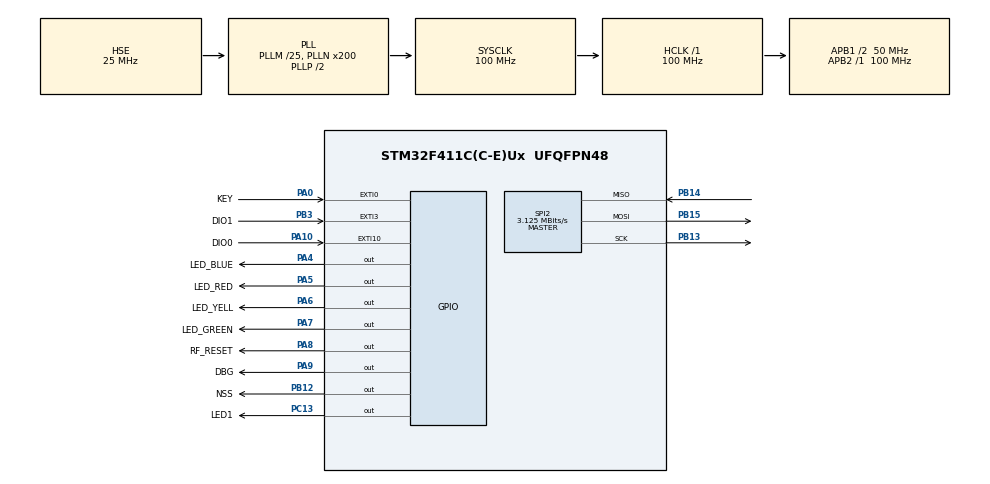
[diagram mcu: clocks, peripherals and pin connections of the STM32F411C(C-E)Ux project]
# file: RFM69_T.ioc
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Dma.Request0=SPI2_RX
Dma.Request1=SPI2_TX
Dma.SPI2_RX.0.Direction=DMA_PERIPH_TO_MEMORY
Dma.SPI2_RX.0.FIFOMode=DMA_FIFOMODE_DISABLE
Dma.SPI2_RX.0.Instance=DMA1_Stream3
Dma.SPI2_RX.0.MemDataAlignment=DMA_MDATAALIGN_BYTE
Dma.SPI2_RX.0.MemInc=DMA_MINC_ENABLE
Dma.SPI2_RX.0.Mode=DMA_NORMAL
Dma.SPI2_RX.0.PeriphDataAlignment=DMA_PDATAALIGN_BYTE
Dma.SPI2_RX.0.PeriphInc=DMA_PINC_DISABLE
Dma.SPI2_RX.0.Priority=DMA_PRIORITY_VERY_HIGH
Dma.SPI2_TX.1.Direction=DMA_MEMORY_TO_PERIPH
Dma.SPI2_TX.1.FIFOMode=DMA_FIFOMODE_DISABLE
Dma.SPI2_TX.1.Instance=DMA1_Stream4
Dma.SPI2_TX.1.MemDataAlignment=DMA_MDATAALIGN_BYTE
Dma.SPI2_TX.1.MemInc=DMA_MINC_ENABLE
Dma.SPI2_TX.1.Mode=DMA_NORMAL
Dma.SPI2_TX.1.PeriphDataAlignment=DMA_PDATAALIGN_BYTE
Dma.SPI2_TX.1.PeriphInc=DMA_PINC_DISABLE
Dma.SPI2_TX.1.Priority=DMA_PRIORITY_VERY_HIGH
FREERTOS.BinarySemaphores01=SemaphoreKEY,Dynamic,NULL;SemDIO_RF69,Static,SemDIO_RF69ControlBlock;SemTimer_RF69,Static,SemTimer_RF69ControlBlock
FREERTOS.HEAP_NUMBER=5
FREERTOS.Mutexes01=RF_Mutex,Static,RF_MutexControlBlock
FREERTOS.Tasks01=defaultTask,24,128,StartDefaultTask,Default,NULL,Static,defaultTaskBuffer,defaultTaskControlBlock;InitTask,40,512,StartInitTask,Default,NULL,Dynamic,NULL,NULL;RadioTask,24,512,StartRadioTask,Default,NULL,Static,RadioTaskBuffer,RadioTaskControlBlock;TaskKey,24,128,StartTaskKey,Default,NULL,Dynamic,NULL,NULL;TaskDIO_RF69,48,256,StartDIO_RF69,Default,NULL,Static,DIO_RF69Buffer,DIO_RF69ControlBlock;TaskTIM_RF69,41,256,StartTaskTIM_RF69,Default,NULL,Static,TaskTIM_RF69Buffer,TaskTIM_RF69ControlBlock
Mcu.Family=STM32F4
Mcu.Name=STM32F411C(C-E)Ux
Mcu.Package=UFQFPN48
NVIC.DMA1_Stream3_IRQn=true\:12\:0\:true\:false\:true\:true\:false\:true
NVIC.DMA1_Stream4_IRQn=true\:12\:0\:true\:false\:true\:true\:false\:true
NVIC.EXTI0_IRQn=true\:6\:0\:true\:false\:true\:true\:true\:true
NVIC.EXTI15_10_IRQn=true\:8\:0\:true\:false\:true\:true\:true\:true
NVIC.EXTI3_IRQn=true\:6\:0\:true\:false\:true\:true\:true\:true
NVIC.PriorityGroup=NVIC_PRIORITYGROUP_4
NVIC.SPI2_IRQn=true\:11\:0\:true\:false\:true\:true\:true\:true
NVIC.TIM1_TRG_COM_TIM11_IRQn=true\:0\:0\:true\:false\:true\:false\:false\:true
NVIC.TIM1_UP_TIM10_IRQn=true\:14\:0\:true\:false\:true\:true\:true\:true
NVIC.TimeBase=TIM1_TRG_COM_TIM11_IRQn
NVIC.TimeBaseIP=TIM11
PA0-WKUP.GPIO_Label=KEY
PA0-WKUP.GPIO_ModeDefaultEXTI=GPIO_MODE_IT_RISING_FALLING
PA0-WKUP.GPIO_PuPd=GPIO_PULLUP
PA0-WKUP.Signal=GPXTI0
PA10.GPIO_Label=DIO0
PA10.GPIO_PuPd=GPIO_PULLDOWN
PA10.Signal=GPXTI10
PA13.Mode=Serial_Wire
PA13.Signal=SYS_JTMS-SWDIO
PA14.Mode=Serial_Wire
PA14.Signal=SYS_JTCK-SWCLK
PA4.GPIO_Label=LED_BLUE
PA4.GPIO_ModeDefaultOutputPP=GPIO_MODE_OUTPUT_OD
PA4.GPIO_Speed=GPIO_SPEED_FREQ_LOW
PA4.PinState=GPIO_PIN_SET
PA4.Signal=GPIO_Output
PA5.GPIO_Label=LED_RED
PA5.GPIO_ModeDefaultOutputPP=GPIO_MODE_OUTPUT_OD
PA5.GPIO_Speed=GPIO_SPEED_FREQ_LOW
PA5.PinState=GPIO_PIN_SET
PA5.Signal=GPIO_Output
PA6.GPIO_Label=LED_YELL
PA6.GPIO_ModeDefaultOutputPP=GPIO_MODE_OUTPUT_OD
PA6.GPIO_Speed=GPIO_SPEED_FREQ_LOW
PA6.PinState=GPIO_PIN_SET
PA6.Signal=GPIO_Output
PA7.GPIO_Label=LED_GREEN
PA7.GPIO_ModeDefaultOutputPP=GPIO_MODE_OUTPUT_OD
PA7.PinState=GPIO_PIN_SET
PA7.Signal=GPIO_Output
PA8.GPIO_Label=RF_RESET
PA8.GPIO_Speed=GPIO_SPEED_FREQ_VERY_HIGH
PA8.Signal=GPIO_Output
PA9.GPIO_Label=DBG
PA9.GPIO_Speed=GPIO_SPEED_FREQ_VERY_HIGH
PA9.PinState=GPIO_PIN_RESET
PA9.Signal=GPIO_Output
PB12.GPIO_Label=NSS
PB12.GPIO_Speed=GPIO_SPEED_FREQ_VERY_HIGH
PB12.PinState=GPIO_PIN_SET
PB12.Signal=GPIO_Output
PB13.Mode=Full_Duplex_Master
PB13.Signal=SPI2_SCK
PB14.Mode=Full_Duplex_Master
PB14.Signal=SPI2_MISO
PB15.Mode=Full_Duplex_Master
PB15.Signal=SPI2_MOSI
PB3.GPIO_Label=DIO1
PB3.GPIO_ModeDefaultEXTI=GPIO_MODE_IT_RISING_FALLING
PB3.GPIO_PuPd=GPIO_PULLDOWN
PB3.Signal=GPXTI3
PC13-ANTI_TAMP.GPIO_Label=LED1
PC13-ANTI_TAMP.GPIO_ModeDefaultOutputPP=GPIO_MODE_OUTPUT_OD
PC13-ANTI_TAMP.PinState=GPIO_PIN_SET
PC13-ANTI_TAMP.Signal=GPIO_Output
PC14-OSC32_IN.Mode=LSE-External-Oscillator
PC14-OSC32_IN.Signal=RCC_OSC32_IN
PC15-OSC32_OUT.Mode=LSE-External-Oscillator
PC15-OSC32_OUT.Signal=RCC_OSC32_OUT
PH0\ -\ OSC_IN.Mode=HSE-External-Oscillator
PH0\ -\ OSC_IN.Signal=RCC_OSC_IN
PH1\ -\ OSC_OUT.Mode=HSE-External-Oscillator
PH1\ -\ OSC_OUT.Signal=RCC_OSC_OUT
ProjectManager.HeapSize=0x200
ProjectManager.StackSize=0x400
ProjectManager.TargetToolchain=MDK-ARM V5.27
RCC.48MHZClocksFreq_Value=50000000
RCC.AHBFreq_Value=100000000
RCC.APB1CLKDivider=RCC_HCLK_DIV2
RCC.APB1Freq_Value=50000000
RCC.APB1TimFreq_Value=100000000
RCC.APB2Freq_Value=100000000
RCC.APB2TimFreq_Value=100000000
RCC.CortexFreq_Value=100000000
RCC.HCLKFreq_Value=100000000
RCC.HSE_VALUE=25000000
RCC.HSI_VALUE=16000000
RCC.PLLM=25
RCC.PLLN=200
RCC.PLLSourceVirtual=RCC_PLLSOURCE_HSE
RCC.SYSCLKFreq_VALUE=100000000
RCC.SYSCLKSource=RCC_SYSCLKSOURCE_PLLCLK
RCC.VCOOutputFreq_Value=200000000
RTC.Format=RTC_FORMAT_BCD
RTC.Hours=20
RTC.Minutes=20
RTC.Seconds=34
SPI2.BaudRatePrescaler=SPI_BAUDRATEPRESCALER_16
SPI2.CalculateBaudRate=3.125 MBits/s
SPI2.Direction=SPI_DIRECTION_2LINES
SPI2.Mode=SPI_MODE_MASTER
SPI2.VirtualType=VM_MASTER
TIM10.AutoReloadPreload=TIM_AUTORELOAD_PRELOAD_ENABLE
TIM10.Period=9999
TIM10.Prescaler=999
VP_CRC_VS_CRC.Mode=CRC_Activate
VP_FREERTOS_VS_CMSIS_V2.Mode=CMSIS_V2
VP_RTC_VS_RTC_Activate.Mode=RTC_Enabled
VP_RTC_VS_RTC_Calendar.Mode=RTC_Calendar
VP_SYS_VS_tim11.Mode=TIM11
VP_TIM10_VS_ClockSourceINT.Mode=Enable_Timer
VP_TIM10_VS_OPM.Mode=OPM_bit
board=custom

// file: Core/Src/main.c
/* USER CODE BEGIN Header */
/**
  ******************************************************************************
  * @file           : main.c
  * @brief          : Main program body
  ******************************************************************************
  * @attention
  *
  * <h2><center>&copy; Copyright (c) 2021 STMicroelectronics.
  * All rights reserved.</center></h2>
  *
  * This software component is licensed by ST under Ultimate Liberty license
  * SLA0044, the "License"; You may not use this file except in compliance with
  * the License. You may obtain a copy of the License at:
  *                             www.st.com/SLA0044
  *
  ******************************************************************************
  */
/* USER CODE END Header */
#include "main.h"
#include "cmsis_os.h"
#include "crc.h"
#include "dma.h"
#include "rtc.h"
#include "spi.h"
#include "tim.h"
#include "gpio.h"

/* USER CODE BEGIN Includes */
#include "RFM69_Config.h"
#include "RFM69_.h"
/* USER CODE END Includes */

/* USER CODE BEGIN PV */
extern SPI_HandleTypeDef _SPI_HANDLE;
extern DMA_HandleTypeDef _SPI_DMA_RX_HANDLE;
extern DMA_HandleTypeDef _SPI_DMA_TX_HANDLE;
extern TIM_HandleTypeDef _TIMER_WATCH_HANDLE;
extern DMA_HandleTypeDef hdma_spi2_rx;
extern void TIM_IRQHandler(TIM_HandleTypeDef *htim);
/* USER CODE END PV */

void SystemClock_Config(void);
void MX_FREERTOS_Init(void);

int main(void)
{

  /* MCU Configuration--------------------------------------------------------*/

  /* Reset of all peripherals, Initializes the Flash interface and the Systick. */
  HAL_Init();

  /* Configure the system clock */
  SystemClock_Config();

  /* Initialize all configured peripherals */
  MX_GPIO_Init();
  MX_DMA_Init();
  MX_CRC_Init();
  MX_RTC_Init();
  MX_SPI2_Init();
  MX_TIM10_Init();

  /* Init scheduler */
  osKernelInitialize();  /* Call init function for freertos objects (in freertos.c) */
  MX_FREERTOS_Init();
  /* Start scheduler */
  osKernelStart();

  /* We should never get here as control is now taken by the scheduler */
  /* Infinite loop */
  while (1)
  {

  }
}

void SystemClock_Config(void)
{
  RCC_OscInitTypeDef RCC_OscInitStruct = {0};
  RCC_ClkInitTypeDef RCC_ClkInitStruct = {0};

  /** Configure the main internal regulator output voltage
  */
  __HAL_RCC_PWR_CLK_ENABLE();
  __HAL_PWR_VOLTAGESCALING_CONFIG(PWR_REGULATOR_VOLTAGE_SCALE1);
  /** Initializes the RCC Oscillators according to the specified parameters
  * in the RCC_OscInitTypeDef structure.
  */
  RCC_OscInitStruct.OscillatorType = RCC_OSCILLATORTYPE_LSI|RCC_OSCILLATORTYPE_HSE;
  RCC_OscInitStruct.HSEState = RCC_HSE_ON;
  RCC_OscInitStruct.LSIState = RCC_LSI_ON;
  RCC_OscInitStruct.PLL.PLLState = RCC_PLL_ON;
  RCC_OscInitStruct.PLL.PLLSource = RCC_PLLSOURCE_HSE;
  RCC_OscInitStruct.PLL.PLLM = 25;
  RCC_OscInitStruct.PLL.PLLN = 200;
  RCC_OscInitStruct.PLL.PLLP = RCC_PLLP_DIV2;
  RCC_OscInitStruct.PLL.PLLQ = 4;
  if (HAL_RCC_OscConfig(&RCC_OscInitStruct) != HAL_OK)
  {
    Error_Handler();
  }
  /** Initializes the CPU, AHB and APB buses clocks
  */
  RCC_ClkInitStruct.ClockType = RCC_CLOCKTYPE_HCLK|RCC_CLOCKTYPE_SYSCLK
                              |RCC_CLOCKTYPE_PCLK1|RCC_CLOCKTYPE_PCLK2;
  RCC_ClkInitStruct.SYSCLKSource = RCC_SYSCLKSOURCE_PLLCLK;
  RCC_ClkInitStruct.AHBCLKDivider = RCC_SYSCLK_DIV1;
  RCC_ClkInitStruct.APB1CLKDivider = RCC_HCLK_DIV2;
  RCC_ClkInitStruct.APB2CLKDivider = RCC_HCLK_DIV1;

  if (HAL_RCC_ClockConfig(&RCC_ClkInitStruct, FLASH_LATENCY_3) != HAL_OK)
  {
    Error_Handler();
  }
}

void HAL_TIM_PeriodElapsedCallback(TIM_HandleTypeDef *htim)
{
  /* USER CODE BEGIN Callback 0 */
	if(htim->Instance == _TIMER_WATCH_HANDLE.Instance)
	{
		RF69_TimerCallback();
	}

  /* USER CODE END Callback 0 */
  if (htim->Instance == TIM11) {
    HAL_IncTick();
  }
}

void Error_Handler(void)
{
  /* USER CODE BEGIN Error_Handler_Debug */
  /* User can add his own implementation to report the HAL error return state */
  __disable_irq();
  while (1)
  {
//	  printf("Wrong parameters value: file %s on line %d\r\n", "file", 1) ;
  }
  /* USER CODE END Error_Handler_Debug */
}

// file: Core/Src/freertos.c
/* USER CODE BEGIN Header */
/**
	******************************************************************************
	* File Name          : freertos.c
	* Description        : Code for freertos applications
	******************************************************************************
	* @attention
	*
	* <h2><center>&copy; Copyright (c) 2021 STMicroelectronics.
	* All rights reserved.</center></h2>
	*
	* This software component is licensed by ST under Ultimate Liberty license
	* SLA0044, the "License"; You may not use this file except in compliance with
	* the License. You may obtain a copy of the License at:
	*                             www.st.com/SLA0044
	*
	******************************************************************************
	*/
//
/* USER CODE END Header */

#include "FreeRTOS.h"
#include "task.h"
#include "main.h"
#include "cmsis_os.h"

/* USER CODE BEGIN Includes */
#include <stdlib.h>
#include "stdio.h"
#include <string.h>
#include <queue.h>
#include <semphr.h>

#include "MyAppConfig.h"
#include "RFM69_Config.h"
#include <stm32f4xx_hal_dma.h>
#include "RFM69_.h"
#include "RF69_ACK.h"
#include "RND_GEN.h"
#include "AES_GEN.h"
#include "AES_KEY.h"
#include "TIMER_C.h"
//#include "OLED.h"
//#include "ssd1306.h"
/* USER CODE END Includes */

typedef StaticTask_t osStaticThreadDef_t;
typedef StaticSemaphore_t osStaticMutexDef_t;
typedef StaticSemaphore_t osStaticSemaphoreDef_t;

/* USER CODE BEGIN Variables */
volatile static uint32_t _good = 0;
volatile static uint32_t _bad = 0;
volatile static uint32_t _all = 0;
volatile static float _percent = 0;
volatile static uint16_t _DioPin = 0;
#if _APP_MODE == 1U //Fixed Packet
extern const uint8_t _LMessage[256];
uint8_t buf[RF69_MAX_FIFO_LENGHT];
#endif
#if _APP_MODE == 2U //Var Packet
extern const uint8_t _LMessage[256];
uint8_t buf[256];
#endif
#if _APP_MODE == 3U //Unlim Packet
extern const uint8_t  _UMessage[512];
uint8_t buf[512];
#endif
#if _APP_MODE == 4U //Fixed Packet with ACK
extern const uint8_t _LMessage[256];
uint8_t buf[RF69_MAX_FIFO_LENGHT];
#endif
#if _APP_MODE == 5U //Var Packet with ACK
extern const uint8_t _LMessage[256];
uint8_t buf[256];
#endif
#if _APP_MODE == 6U //Unlim Packet with ACK
extern const uint8_t  _UMessage[512];
uint8_t buf[512];

volatile static uint8_t EncryptMessage[PLAINTEXT_LENGTH];
volatile static uint8_t OutputMessage[PLAINTEXT_LENGTH];
volatile static uint32_t OutputMessageLength = 0;

extern SPI_HandleTypeDef _SPI_HANDLE;
extern DMA_HandleTypeDef _SPI_DMA_RX_HANDLE;
extern DMA_HandleTypeDef _SPI_DMA_TX_HANDLE;
extern TIM_HandleTypeDef _TIMER_WATCH_HANDLE;
extern DMA_HandleTypeDef hdma_spi2_rx;

//extern I2C_HandleTypeDef hi2c1;
//extern char* sprintf(char*, const char*,
#endif

/* USER CODE END Variables */
/* Definitions for defaultTask */
osThreadId_t defaultTaskHandle;
uint32_t defaultTaskBuffer[ 128 ];
osStaticThreadDef_t defaultTaskControlBlock;
const osThreadAttr_t defaultTask_attributes = {
  .name = "defaultTask",
  .cb_mem = &defaultTaskControlBlock,
  .cb_size = sizeof(defaultTaskControlBlock),
  .stack_mem = &defaultTaskBuffer[0],
  .stack_size = sizeof(defaultTaskBuffer),
  .priority = (osPriority_t) osPriorityNormal,
};
/* Definitions for InitTask */
osThreadId_t InitTaskHandle;
const osThreadAttr_t InitTask_attributes = {
  .name = "InitTask",
  .stack_size = 512 * 4,
  .priority = (osPriority_t) osPriorityHigh,
};
/* Definitions for RadioTask */
osThreadId_t RadioTaskHandle;
uint32_t RadioTaskBuffer[ 512 ];
osStaticThreadDef_t RadioTaskControlBlock;
const osThreadAttr_t RadioTask_attributes = {
  .name = "RadioTask",
  .cb_mem = &RadioTaskControlBlock,
  .cb_size = sizeof(RadioTaskControlBlock),
  .stack_mem = &RadioTaskBuffer[0],
  .stack_size = sizeof(RadioTaskBuffer),
  .priority = (osPriority_t) osPriorityNormal,
};
/* Definitions for TaskKey */
osThreadId_t TaskKeyHandle;
const osThreadAttr_t TaskKey_attributes = {
  .name = "TaskKey",
  .stack_size = 128 * 4,
  .priority = (osPriority_t) osPriorityNormal,
};
/* Definitions for TaskDIO_RF69 */
osThreadId_t TaskDIO_RF69Handle;
uint32_t DIO_RF69Buffer[ 256 ];
osStaticThreadDef_t DIO_RF69ControlBlock;
const osThreadAttr_t TaskDIO_RF69_attributes = {
  .name = "TaskDIO_RF69",
  .cb_mem = &DIO_RF69ControlBlock,
  .cb_size = sizeof(DIO_RF69ControlBlock),
  .stack_mem = &DIO_RF69Buffer[0],
  .stack_size = sizeof(DIO_RF69Buffer),
  .priority = (osPriority_t) osPriorityRealtime,
};
/* Definitions for TaskTIM_RF69 */
osThreadId_t TaskTIM_RF69Handle;
uint32_t TaskTIM_RF69Buffer[ 256 ];
osStaticThreadDef_t TaskTIM_RF69ControlBlock;
const osThreadAttr_t TaskTIM_RF69_attributes = {
  .name = "TaskTIM_RF69",
  .cb_mem = &TaskTIM_RF69ControlBlock,
  .cb_size = sizeof(TaskTIM_RF69ControlBlock),
  .stack_mem = &TaskTIM_RF69Buffer[0],
  .stack_size = sizeof(TaskTIM_RF69Buffer),
  .priority = (osPriority_t) osPriorityHigh1,
};
/* Definitions for RF_Mutex */
osMutexId_t RF_MutexHandle;
osStaticMutexDef_t RF_MutexControlBlock;
const osMutexAttr_t RF_Mutex_attributes = {
  .name = "RF_Mutex",
  .cb_mem = &RF_MutexControlBlock,
  .cb_size = sizeof(RF_MutexControlBlock),
};
/* Definitions for SemaphoreKEY */
osSemaphoreId_t SemaphoreKEYHandle;
const osSemaphoreAttr_t SemaphoreKEY_attributes = {
  .name = "SemaphoreKEY"
};
/* Definitions for SemDIO_RF69 */
osSemaphoreId_t SemDIO_RF69Handle;
osStaticSemaphoreDef_t SemDIO_RF69ControlBlock;
const osSemaphoreAttr_t SemDIO_RF69_attributes = {
  .name = "SemDIO_RF69",
  .cb_mem = &SemDIO_RF69ControlBlock,
  .cb_size = sizeof(SemDIO_RF69ControlBlock),
};
/* Definitions for SemTimer_RF69 */
osSemaphoreId_t SemTimer_RF69Handle;
osStaticSemaphoreDef_t SemTimer_RF69ControlBlock;
const osSemaphoreAttr_t SemTimer_RF69_attributes = {
  .name = "SemTimer_RF69",
  .cb_mem = &SemTimer_RF69ControlBlock,
  .cb_size = sizeof(SemTimer_RF69ControlBlock),
};

/* USER CODE BEGIN FunctionPrototypes */
void PrintText(uint8_t* pBuf, uint8_t lenght);
//void EXTI0_IRQHandler(void);
void TIM_IRQHandler(TIM_HandleTypeDef *htim);
/* USER CODE END FunctionPrototypes */

void StartDefaultTask(void *argument);
void StartInitTask(void *argument);
void StartRadioTask(void *argument);
void StartTaskKey(void *argument);
void StartDIO_RF69(void *argument);
void StartTaskTIM_RF69(void *argument);

void MX_FREERTOS_Init(void); /* (MISRA C 2004 rule 8.1) */

void MX_FREERTOS_Init(void) {
  /* Create the mutex(es) */
  /* creation of RF_Mutex */
  RF_MutexHandle = osMutexNew(&RF_Mutex_attributes);

  /* Create the semaphores(s) */
  /* creation of SemaphoreKEY */
  SemaphoreKEYHandle = osSemaphoreNew(1, 1, &SemaphoreKEY_attributes);

  /* creation of SemDIO_RF69 */
  SemDIO_RF69Handle = osSemaphoreNew(1, 1, &SemDIO_RF69_attributes);

  /* creation of SemTimer_RF69 */
  SemTimer_RF69Handle = osSemaphoreNew(1, 1, &SemTimer_RF69_attributes);

  /* Create the thread(s) */
  /* creation of defaultTask */
  defaultTaskHandle = osThreadNew(StartDefaultTask, NULL, &defaultTask_attributes);

  /* creation of InitTask */
  InitTaskHandle = osThreadNew(StartInitTask, NULL, &InitTask_attributes);

  /* creation of RadioTask */
  RadioTaskHandle = osThreadNew(StartRadioTask, NULL, &RadioTask_attributes);

  /* creation of TaskKey */
  TaskKeyHandle = osThreadNew(StartTaskKey, NULL, &TaskKey_attributes);

  /* creation of TaskDIO_RF69 */
  TaskDIO_RF69Handle = osThreadNew(StartDIO_RF69, NULL, &TaskDIO_RF69_attributes);

  /* creation of TaskTIM_RF69 */
  TaskTIM_RF69Handle = osThreadNew(StartTaskTIM_RF69, NULL, &TaskTIM_RF69_attributes);

}

void StartDefaultTask(void *argument)
{
  /* USER CODE BEGIN StartDefaultTask */
	/* Infinite loop */
	for(;;)
	{
		vTaskDelay(1);
	}
  /* USER CODE END StartDefaultTask */
}

void StartInitTask(void *argument)
{
  /* USER CODE BEGIN StartInitTask */
  /* Infinite loop */
	osMutexWait(RF_MutexHandle, osWaitForever);
	RF69_Init();
	InitRND();

//	ssd1306_Init();
//	ssd1306_Fill(Black);

	osMutexRelease(RF_MutexHandle);
	AES_CTR_Set_Key(AK_Key128, CRL_AES128_KEY);
	 vTaskDelete(InitTaskHandle);
  /* USER CODE END StartInitTask */
}

void StartRadioTask(void *argument)
{
  /* USER CODE BEGIN StartRadioTask */
	/* Infinite loop */

	volatile static bool _flag= 0;
	for(;;)
	{
		osMutexWait(RF_MutexHandle, osWaitForever);
#if _APP_MODE == 1U //Fixed Packet
		RF69_PacketMode(_PACKET_FIXED);
		_flag = RF69_Send ((uint8_t*)_LMessage, 28);
		_all++;
		if(_flag)
		{
			LED_GREEN_ON;
			_good++;
		}
		else
		{
			LED_RED_ON;
			_bad;
		}
		_percent = _bad/((float)_all/100);

#endif
#if _APP_MODE == 2U //Variable Packet
//		_flag = RF69_WaitAvailableTimeout(100);
		const  uint8_t size = 253;
		_all++;
		RF69_PacketMode(_PACKET_VARIABLE);
		RF69_SendVariablePacket ((uint8_t*)_LMessage, size);
		if(_flag)
		{
			LED_GREEN_ON;
			_good++;
		}
		else
		{
			LED_RED_ON;
			_bad;
		}
		_percent = _bad/((float)_all/100);
//extern bool SendACK(uint8_t *buf, uint16_t len);

//	SendACK((uint8_t*)_LMessage, size);

#endif

#if _APP_MODE == 3U //Unlimited Packet
//		_flag = RF69_WaitAvailableTimeout(100);
		_all++;
		RF69_SendUnlimitedLengthPacket ((uint8_t*)_UMessage, sizeof(_UMessage));
		if(_flag)
		{
			LED_GREEN_ON;
			_good++;
		}
		else
		{
			LED_RED_ON;
			_bad;
		}
		_percent = _bad/((float)_all/100);

#endif
#if _APP_MODE == 4U //Fix Packet with ACK
		_all++;
		_flag = SendFixACK((uint8_t*)_LMessage, 24);
		if(_flag)
		{
			LED_GREEN_ON;
			_good++;
		}
		else
		{
			LED_RED_ON;
			_bad++;
		}

#endif

#if _APP_MODE == 5U //Var Packet with ACK
		_all++;
		_flag = SendVarACK((uint8_t*) _LMessage, 230);
		if(_flag)
		{
			LED_GREEN_ON;
			_good++;
		}
		else
		{
			LED_RED_ON;
			_bad++;
		}
#endif
#if _APP_MODE == 6U //Unlim Packet with ACK
		_all++;
		RF69_SetModeIdle();
		_flag = SendUnlimACK((uint8_t*) _UMessage, 500);
		if(_flag)
		{
			LED_GREEN_ON;
			_good++;
		}
		else
		{
			LED_RED_ON;
			_bad++;
		}
#endif
/******************************************************************************/
		osMutexRelease(RF_MutexHandle);

//		_timer_c_StartTimer(10000);
		 vTaskDelay(20);
//		_timer_c_StartTimer(5000);
// 		_timer_c_StopTimer();
//		DBG_ON;
//		DBG_OFF;
//		DBG_ON;
//		DBG_OFF;
		LED_BLUE_OFF;
		LED_GREEN_OFF;
		LED_RED_OFF;
		LED_YELL_OFF;

//		uint8_t str[48];

//		sprintf((char*)&str, "ok_Packet_send %i",  ok_Packet_send);
//		ssd1306_SetCursor(0, 0);
//		ssd1306_WriteString((char*)&str, Font_11x18, White);
//		ssd1306_UpdateScreen();
//		sprintf((char*)&str, "err_Timer %i", err_Timer);
//		ssd1306_SetCursor(0, 16);
//		ssd1306_WriteString((char*)&str, Font_11x18, White);
//		ssd1306_UpdateScreen();

		vTaskDelay(300);

 }

  /* USER CODE END StartRadioTask */
}

void StartTaskKey(void *argument)
{
  /* USER CODE BEGIN StartTaskKey */
  /* Infinite loop */
  for(;;)
  {
	  xSemaphoreTake(SemaphoreKEYHandle, portMAX_DELAY );
	  if(HAL_GPIO_ReadPin(KEY_GPIO_Port, KEY_Pin) == GPIO_PIN_SET)
	  {
//		  DBG_ON;
	  }
	  else
	  {
//		  DBG_OFF;
	  }
	  LED1_ON;
	  osDelay(20);
	  LED1_OFF;
	  osDelay(180);
  }
  /* USER CODE END StartTaskKey */
}

void StartDIO_RF69(void *argument)
{
  /* USER CODE BEGIN StartDIO_RF69 */
	/* Infinite loop */
	for(;;)
	{
		xSemaphoreTake(SemDIO_RF69Handle, portMAX_DELAY );
		if(_DioPin == DIO0_Pin)
		{
			RF69_Interrupt_DIO0();
		}
		if(_DioPin == DIO1_Pin)
		{

			if(HAL_GPIO_ReadPin(DIO1_GPIO_Port, DIO1_Pin) == RESET)
			{
				RF69_Interrupt_DIO1_Falling();
			}
			else
			{
				RF69_Interrupt_DIO1_Rising();
			}
		}
	//    osDelay(1);
	}
  /* USER CODE END StartDIO_RF69 */
}

void StartTaskTIM_RF69(void *argument)
{
  /* USER CODE BEGIN StartTaskTIM_RF69 */
	/* Infinite loop */
	for(;;)
	{
		xSemaphoreTake(SemTimer_RF69Handle, portMAX_DELAY );
//		RF69_CallbackWatchTimer();
//		osDelay(1);
	}
  /* USER CODE END StartTaskTIM_RF69 */
}

/* USER CODE BEGIN Application */
void HAL_GPIO_EXTI_Callback(uint16_t GPIO_Pin)
{
	static portBASE_TYPE xHigherPriorityTaskWoken;
	xHigherPriorityTaskWoken = pdFALSE;
/* Prevent unused argument(s) compilation warning */
	if(GPIO_Pin == DIO0_Pin)
	{
		_DioPin = GPIO_Pin;
		xSemaphoreGiveFromISR(SemDIO_RF69Handle, &xHigherPriorityTaskWoken );
//		RF69_Interrupt_DIO0();
		portEND_SWITCHING_ISR(xHigherPriorityTaskWoken);
	}
	if(GPIO_Pin == DIO1_Pin)
	{
		_DioPin = GPIO_Pin;
		xSemaphoreGiveFromISR(SemDIO_RF69Handle, &xHigherPriorityTaskWoken );
//		RF69_Interrupt_DIO0();
		portEND_SWITCHING_ISR(xHigherPriorityTaskWoken);
	}

//	if(GPIO_Pin == DIO1_Pin)
//	{
//
//		if(HAL_GPIO_ReadPin(DIO1_GPIO_Port, DIO1_Pin) == RESET)
//		{
//			RF69_Interrupt_DIO1_Falling();
//		}
//		else
//		{
//			RF69_Interrupt_DIO1_Rising();
//		}
//	}
	if(GPIO_Pin == KEY_Pin)
	{
//		if(HAL_GPIO_ReadPin(KEY_GPIO_Port, KEY_Pin) == GPIO_PIN_SET)
//		{
		xSemaphoreGiveFromISR(SemaphoreKEYHandle, &xHigherPriorityTaskWoken );
//		}
		portEND_SWITCHING_ISR(xHigherPriorityTaskWoken);
	}
	UNUSED(GPIO_Pin);

}

void TIM_IRQHandler(TIM_HandleTypeDef *htim)
{
//	static portBASE_TYPE xHigherPriorityTaskWoken;
//	xHigherPriorityTaskWoken = pdFALSE;
//	xSemaphoreGiveFromISR(SemTimer_RF69Handle, &xHigherPriorityTaskWoken );
//	portEND_SWITCHING_ISR(xHigherPriorityTaskWoken);
	DBG_TOGGLE DBG_TOGGLE
	UNUSED(htim);
}
void PrintText(uint8_t* pBuf, uint8_t lenght)
{
}
/* USER CODE END Application */
